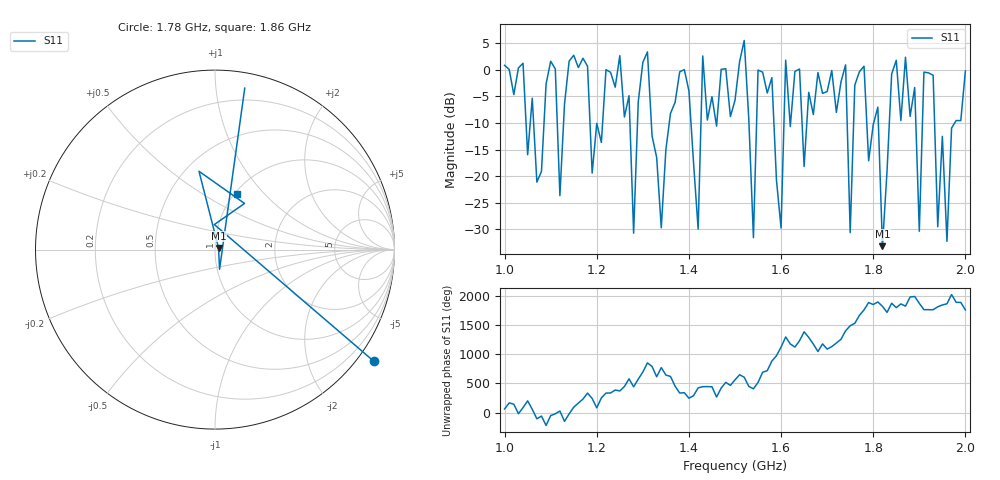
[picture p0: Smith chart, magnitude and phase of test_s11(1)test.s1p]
# MHz S MA R 50
!  freq  S11
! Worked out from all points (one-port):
!   101 points, 1 GHz to 2 GHz, reference 50 ohm
!   lowest |S11| = -33.2 dB at 1.82 GHz (marker M1), VSWR 1.04, Z = 52 + j1 ohm
!   |S11| at or under -10 dB: 1.185 GHz to 1.213 GHz (27.36 MHz wide, 2.28 % of centre); 1.318 GHz to 1.357 GHz (38.9 MHz wide, 2.91 % of centre); 1.933 GHz to 1.977 GHz (43.56 MHz wide, 2.23 % of centre) (the widest 3 of 17)
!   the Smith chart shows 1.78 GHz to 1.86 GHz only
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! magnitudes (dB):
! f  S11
! 1 GHz  0.9
! 1.13 GHz  -6.4
! 1.25 GHz  2.7
! 1.28 GHz  -30.7
! 1.3 GHz  1.4
! 1.34 GHz  -29.7
! 1.38 GHz  -0.4
! 1.42 GHz  -29.9
! 1.43 GHz  2.6
! 1.5 GHz  -5.7
! 1.52 GHz  5.5
! 1.54 GHz  -31.6
! 1.55 GHz  0.0
! 1.58 GHz  -1.5
! 1.6 GHz  -29.8
! 1.61 GHz  1.8
! 1.63 GHz  -0.3
! 1.74 GHz  0.9
! 1.75 GHz  -30.6
! 1.78 GHz  0.7
! 1.82 GHz  -33.2
! 1.84 GHz  -0.8
! 1.88 GHz  -8.8
! 1.9 GHz  -30.4
! 1.91 GHz  -0.4
! 1.93 GHz  -1.0
! 1.96 GHz  -32.3
! 2 GHz  -0.2
